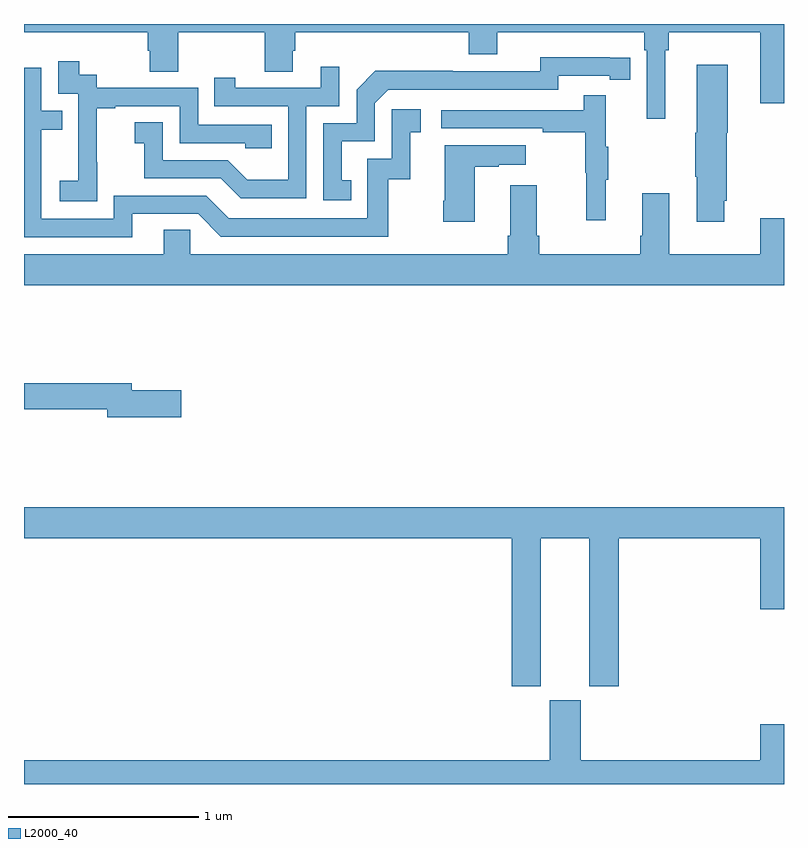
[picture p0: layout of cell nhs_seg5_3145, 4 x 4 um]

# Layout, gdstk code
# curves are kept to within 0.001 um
import gdstk
lib = gdstk.Library(unit=1e-6, precision=1e-09)
def P(c, l, *ps):  # polygons
    for p in ps: c.add(gdstk.Polygon(p, *l))
L2000_40 = (2000, 40)

nhs_seg5_3145 = lib.new_cell('nhs_seg5_3145')
P(nhs_seg5_3145, L2000_40, [(296.374,860.66),(296.393,860.66),(296.393,860.756),(296.876,860.756),(296.876,860.382),(297,860.382),(297,860.799),(293,860.799),(293,860.756),(293.651,860.756),(293.651,860.658),(293.663,860.658),(293.663,860.548),(293.811,860.548),(293.811,860.756),(294.268,860.756),(294.268,860.548),(294.415,860.548),(294.415,860.658),(294.428,860.658),(294.428,860.756),(295.34,860.756),(295.34,860.639),(295.492,860.639),(295.492,860.756),(296.264,860.756),(296.264,860.66),(296.277,860.66),(296.277,860.301),(296.374,860.301)],
  [(294.722,859.977),(294.673,859.977),(294.673,860.181),(294.846,860.181),(294.846,860.382),(294.918,860.454),(295.812,860.454),(295.812,860.526),(296.084,860.526),(296.084,860.506),(296.192,860.506),(296.192,860.622),(295.716,860.623),(295.716,860.55),(295.256,860.55),(295.256,860.552),(294.848,860.552),(294.75,860.454),(294.75,860.277),(294.576,860.277),(294.576,859.872),(294.722,859.872)],
  [(293.385,860.071),(293.384,860.071),(293.384,860.355),(293.479,860.355),(293.479,860.367),(293.82,860.367),(293.82,860.172),(294.165,860.172),(294.165,860.145),(294.305,860.145),(294.305,860.268),(293.916,860.268),(293.916,860.463),(293.382,860.463),(293.382,860.532),(293.29,860.532),(293.29,860.602),(293.181,860.602),(293.181,860.433),(293.286,860.433),(293.286,860.204),(293.285,860.204),(293.285,859.975),(293.187,859.975),(293.187,859.865),(293.385,859.865)],
  [(296.686,859.87),(296.699,859.87),(296.699,860.226),(296.704,860.226),(296.704,860.584),(296.54,860.584),(296.54,860.226),(296.533,860.226),(296.533,859.996),(296.54,859.996),(296.54,859.758),(296.686,859.758)],
  [(294.486,860.367),(294.66,860.367),(294.66,860.575),(294.563,860.575),(294.563,860.463),(294.112,860.463),(294.112,860.515),(294.001,860.515),(294.001,860.367),(294.39,860.367),(294.39,859.978),(294.176,859.978),(294.072,860.082),(293.73,860.082),(293.73,860.281),(293.583,860.281),(293.583,860.171),(293.632,860.171),(293.632,859.986),(294.035,859.986),(294.14,859.881),(294.486,859.881)],
  [(293.569,859.8),(293.916,859.8),(294.036,859.68),(294.916,859.68),(294.916,859.983),(295.034,859.983),(295.034,860.229),(295.087,860.229),(295.087,860.35),(294.936,860.35),(294.936,860.091),(294.807,860.091),(294.807,859.776),(294.078,859.776),(293.958,859.896),(293.472,859.896),(293.472,859.773),(293.091,859.773),(293.091,860.242),(293.201,860.242),(293.201,860.343),(293.091,860.343),(293.091,860.568),(293,860.568),(293,859.677),(293.569,859.677)],
  [(296.063,859.979),(296.074,859.979),(296.074,860.153),(296.063,860.153),(296.063,860.425),(295.945,860.425),(295.945,860.346),(295.197,860.346),(295.197,860.25),(295.729,860.25),(295.729,860.23),(295.953,860.23),(295.953,860.016),(295.96,860.016),(295.96,859.767),(296.063,859.767)],
  [(295.372,860.047),(295.499,860.047),(295.499,860.057),(295.642,860.057),(295.642,860.161),(295.214,860.161),(295.214,859.87),(295.207,859.87),(295.207,859.758),(295.372,859.758)],
  [(296.255,859.909),(296.255,859.684),(296.243,859.684),(296.243,859.588),(295.712,859.588),(295.712,859.684),(295.699,859.684),(295.699,859.951),(295.559,859.951),(295.559,859.684),(295.547,859.684),(295.547,859.588),(293.874,859.588),(293.874,859.715),(293.735,859.715),(293.735,859.588),(293,859.588),(293,859.424),(297,859.424),(297,859.777),(296.876,859.777),(296.876,859.588),(296.395,859.588),(296.395,859.909)],
  [(293.827,858.872),(293.566,858.872),(293.566,858.908),(293,858.908),(293,858.772),(293.438,858.772),(293.438,858.73),(293.827,858.73)],
  [(295.72,858.092),(295.976,858.092),(295.976,857.313),(296.129,857.313),(296.129,858.092),(296.876,858.092),(296.876,857.718),(297,857.718),(297,858.256),(293,858.256),(293,858.092),(295.568,858.092),(295.568,857.313),(295.72,857.313)],
  [(297,857.113),(296.876,857.113),(296.876,856.924),(295.93,856.924),(295.93,857.241),(295.766,857.241),(295.766,856.924),(293,856.924),(293,856.799),(297,856.799)])

lib.write_gds('nhs_seg5_3145.gds')
